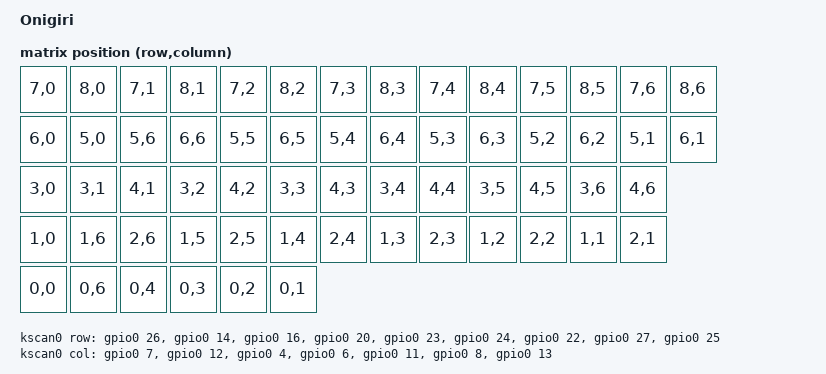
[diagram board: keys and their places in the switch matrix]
/**
 * Copyright (c) 2024 Kuba Birecki
 *
 * SPDX-License-Identifier: MIT
 */

/dts-v1/;
#include <nordic/nrf52840_qiaa.dtsi>
#include <rgb_fx.dtsi>

#include <dt-bindings/is31fl3743a_transform.h>
#include <dt-bindings/zmk/matrix_transform.h>

#include <dt-bindings/zmk/rgb_fx.h>

#include "onigiri_animation_zones.h"

/ {
	model = "Onigiri";

	chosen {
		zephyr,code-partition = &code_partition;
		zephyr,sram = &sram0; 
		zephyr,flash = &flash0;
		zephyr,i2c0 = &i2c0;
		zmk,rgb_fx = &root_animation;
		zmk,battery = &vbatt;
		zmk,kscan = &kscan0;
		zmk,matrix_transform = &default_transform;
	};

	vbatt: vbatt {
		compatible = "zmk,battery-voltage-divider";
		io-channels = <&adc 3>;
		output-ohms = <8200000>;
		full-ohms = <(3300000 + 8200000)>;
	};

	kscan0: kscan_0 {
		compatible = "zmk,kscan-gpio-matrix";
		diode-direction = "col2row";
		wakeup-source;

		col-gpios
			= <&gpio0 7 GPIO_ACTIVE_HIGH>
			, <&gpio0 12 GPIO_ACTIVE_HIGH>
			, <&gpio0 4 GPIO_ACTIVE_HIGH>
			, <&gpio0 6 GPIO_ACTIVE_HIGH>
			, <&gpio0 11 GPIO_ACTIVE_HIGH>
			, <&gpio0 8 GPIO_ACTIVE_HIGH>
			, <&gpio0 13 GPIO_ACTIVE_HIGH>
			;

		row-gpios
			= <&gpio0 26 (GPIO_ACTIVE_HIGH | GPIO_PULL_DOWN)>
			, <&gpio0 14 (GPIO_ACTIVE_HIGH | GPIO_PULL_DOWN)>
			, <&gpio0 16 (GPIO_ACTIVE_HIGH | GPIO_PULL_DOWN)>
			, <&gpio0 20 (GPIO_ACTIVE_HIGH | GPIO_PULL_DOWN)>
			, <&gpio0 23 (GPIO_ACTIVE_HIGH | GPIO_PULL_DOWN)>
			, <&gpio0 24 (GPIO_ACTIVE_HIGH | GPIO_PULL_DOWN)>
			, <&gpio0 22 (GPIO_ACTIVE_HIGH | GPIO_PULL_DOWN)>
			, <&gpio0 27 (GPIO_ACTIVE_HIGH | GPIO_PULL_DOWN)>
			, <&gpio0 25 (GPIO_ACTIVE_HIGH | GPIO_PULL_DOWN)>
			;
	};

	default_transform: keymap_transform_0 {
		compatible = "zmk,matrix-transform";
		columns = <7>;
		rows = <9>;

		map = <
			RC(7,0) RC(8,0) RC(7,1) RC(8,1) RC(7,2) RC(8,2) RC(7,3) RC(8,3) RC(7,4) RC(8,4) RC(7,5) RC(8,5) RC(7,6) RC(8,6)
			RC(6,0) RC(5,0) RC(5,6) RC(6,6) RC(5,5) RC(6,5) RC(5,4) RC(6,4) RC(5,3) RC(6,3) RC(5,2) RC(6,2) RC(5,1) RC(6,1)
			RC(3,0) RC(3,1) RC(4,1) RC(3,2) RC(4,2) RC(3,3) RC(4,3) RC(3,4) RC(4,4) RC(3,5) RC(4,5) RC(3,6) RC(4,6)
			RC(1,0) RC(1,6) RC(2,6) RC(1,5) RC(2,5) RC(1,4) RC(2,4) RC(1,3) RC(2,3) RC(1,2) RC(2,2) RC(1,1) RC(2,1)
			RC(0,0) RC(0,6) RC(0,4) RC(0,3) RC(0,2) RC(0,1)
		>;
	};

	rgb-fx {
		compatible = "zmk,rgb-fx";
		drivers = <&led_strip>;
		chain-lengths = <35>;

		key-pixels = <>;

		pixels
			= <&pixel 0 0>
			, <&pixel 7 0>
			, <&pixel 14 0>
			, <&pixel 21 0>
			, <&pixel 28 0>
			, <&pixel 35 0>
			, <&pixel 42 0>
			, <&pixel 49 0>
			, <&pixel 56 0>
			, <&pixel 63 0>
			, <&pixel 70 0>
			, <&pixel 77 0>
			, <&pixel 84 0>
			, <&pixel 91 0>
			, <&pixel 98 0>
			, <&pixel 105 0>
			, <&pixel 112 0>
			, <&pixel 119 0>
			, <&pixel 126 0>
			, <&pixel 133 0>
			, <&pixel 140 0>
			, <&pixel 147 0>
			, <&pixel 154 0>
			, <&pixel 161 0>
			, <&pixel 168 0>
			, <&pixel 175 0>
			, <&pixel 182 0>
			, <&pixel 189 0>
			, <&pixel 196 0>
			, <&pixel 203 0>
			, <&pixel 210 0>
			, <&pixel 217 0>
			, <&pixel 224 0>
			, <&pixel 231 0>
			, <&pixel 238 0>
			;

		root_animation: animation_100 {
			compatible = "zmk,rgb-fx-compose";
			status = "okay";

			fx = <
				&main_animations
				&bt_indicator_1
			>;
		};

		main_animations: animation_0 {
			compatible = "zmk,rgb-fx-control-group";
			status = "okay";

			fx = <
				&blue_sparkle
				&white_sparkle
				&red_sparkle
				&bootloader_all
				&bootloader_status
				&bt_indicators
				&layer_indicator
				&all_indicators
				&blue_solid
				&red_solid
				&white_solid
				&wpm_indicator
				&basic_gradient
				&rgb_static_gradient
				&hsl_static_gradient
				&rgb_gradient
				&wpm_compose
				&rainbow
			>;
		};

		blue_sparkle: animation_1 {
			compatible = "zmk,rgb-fx-sparkle";
			status = "okay";

			pixels = <ZONE_STRIP>;
			duration = <10>;
			colors = <
				HSL(172, 70, 50)
				HSL(189, 70, 50)
			>;
		};

		white_sparkle: animation_2 {
			compatible = "zmk,rgb-fx-sparkle";
			status = "okay";

			pixels = <ZONE_STRIP>;
			duration = <10>;
			colors = <HSL(0, 50, 100)>;
		};

		red_sparkle: animation_3 {
			compatible = "zmk,rgb-fx-sparkle";
			status = "okay";

			pixels = <ZONE_STRIP>;
			duration = <10>;
			colors = <
				HSL(355, 70, 55)
				HSL(10, 70, 55)
			>;
		};

		bootloader_all: animation_4 {
			compatible = "zmk,rgb-fx-compose";
			status = "okay";

			fx = <&bootloader_write &bootloader_status>;
		};

		bootloader_status: animation_5 {
			compatible = "zmk,rgb-fx-solid";
			status = "okay";

			pixels = <ZONE_INDICATOR_L1>;
			colors = <HSL(120, 100, 55)>;
		};

		bootloader_write: animation_6 {
			compatible = "zmk,rgb-fx-solid";
			status = "okay";

			pixels = <ZONE_INDICATOR_L1_BG>;
			colors = <HSL(176, 100, 55)>;
		};

		bt_indicators: animation_7 {
			compatible = "zmk,rgb-fx-solid";
			status = "okay";

			pixels = <ZONE_INDICATOR_L1 ZONE_INDICATOR_L2 ZONE_INDICATOR_L3>;
			colors = <HSL(197, 100, 60)>;
		};

		layer_indicator: animation_8 {
			compatible = "zmk,rgb-fx-solid";
			status = "okay";

			pixels = <ZONE_INDICATOR_R1>;
			colors = <HSL(355, 100, 60)>;
		};

		indicator_bg: animation_9 {
			compatible = "zmk,rgb-fx-solid";
			status = "okay";

			pixels = <ZONE_INDICATOR_L3_BG ZONE_INDICATOR_R1_BG>;
			colors = <HSL(0, 0, 0)>;
		};

		all_indicators: animation_10 {
			compatible = "zmk,rgb-fx-compose";
			status = "okay";

			fx = <
				&white_sparkle
				&indicator_bg
				&bt_indicators
				&layer_indicator
			>;
		};

		blue_solid: animation_11 {
			compatible = "zmk,rgb-fx-solid";
			status = "okay";

			pixels = <0 1 2 3 4 5 6 7 8 9 10 11 12 13 14 15 16 17 18 19 20 21 22 23 24>;
			colors = <HSL(187, 100, 59)>;
		};

		red_solid: animation_12 {
			compatible = "zmk,rgb-fx-solid";
			status = "okay";

			pixels = <0 1 2 3 4 5 6 7 8 9 10 11 12 13 14 15 16 17 18 19 20 21 22 23 24>;
			colors = <HSL(354, 100, 59)>;
		};

		white_solid: animation_13 {
			compatible = "zmk,rgb-fx-solid";
			status = "okay";

			pixels = <0 1 2 3 4 5 6 7 8 9 10 11 12 13 14 15 16 17 18 19 20 21 22 23 24>;
			colors = <HSL(0, 0, 100)>;
		};

		wpm_indicator: animation_14 {
			compatible = "zmk,rgb-fx-wpm";
			status = "okay";

			pixels = <ZONE_STRIP>;
			colors = <HSL(348, 95, 62) HSL(288, 95, 66)>;
			bounds = <0 238>;
			max-wpm = <100>;
			edge-gradient-width = <50>;
		};

		basic_gradient: animation_15 {
			compatible = "zmk,rgb-fx-linear-gradient";
			status = "okay";

			pixels = <ZONE_STRIP>;
			colors = <HSL(0, 100, 50) HSL(120, 100, 50) HSL(240, 100, 50)>;
			gradient-width = <255>;
			duration = <10>;
		};

		rgb_static_gradient: animation_16 {
			compatible = "zmk,rgb-fx-linear-gradient";
			status = "okay";

			pixels = <ZONE_STRIP>;
			colors = <HSL(232, 35, 25) HSL(94, 93, 71)>;
			use-rgb-interpolation;
		};

		hsl_static_gradient: animation_17 {
			compatible = "zmk,rgb-fx-linear-gradient";
			status = "okay";

			pixels = <ZONE_STRIP>;
			colors = <HSL(232, 35, 25) HSL(94, 93, 71)>;
		};

		rgb_gradient: animation_18 {
			compatible = "zmk,rgb-fx-linear-gradient";
			status = "okay";

			pixels = <ZONE_STRIP>;
			colors = <HSL(180, 100, 71) HSL(305, 100, 65)>;
			gradient-width = <150>;
			duration = <10>;
			use-rgb-interpolation;
		};

		bt_indicator_1: animation_19 {
			compatible = "zmk,rgb-fx-bt-indicator";
			status = "okay";

			pixels = <ZONE_INDICATOR_L1>;
			backdrop-pixels = <ZONE_INDICATOR_L1_BG>;

			color = <HSL(209, 100, 49)>;
			// backdrop-color = <HSL(1, 0, 0)>;

			profile-index = <0>;
		};

		wpm_left: animation_20 {
			compatible = "zmk,rgb-fx-wpm";
			status = "okay";

			pixels = <ZONE_STRIP_LEFT ZONE_STRIP_CENTER>;
			colors = <HSL(205, 100, 60) HSL(320, 100, 50)>;
			bounds = <84 0>;
			max-wpm = <100>;
			blending-mode = "multiply";
			edge-gradient-width = <30>;
		};

		wpm_right: animation_21 {
			compatible = "zmk,rgb-fx-wpm";
			status = "okay";

			pixels = <ZONE_STRIP_RIGHT>;
			colors = <HSL(205, 100, 60) HSL(320, 100, 50)>;
			bounds = <154 238>;
			max-wpm = <100>;
			blending-mode = "multiply";
			edge-gradient-width = <30>;
		};

		wpm_compose: animation_22 {
			compatible = "zmk,rgb-fx-compose";
			status = "okay";

			fx = <&white_sparkle &wpm_left &wpm_right>;
		};

		rainbow_border: animation_23 {
			compatible = "zmk,rgb-fx-static";
			status = "okay";

			pixels = <ZONE_RAINBOW_BORDER>;
			colors = <
				HSL(0, 0, 100) HSL(0, 0, 67) HSL(0, 0, 50)
				HSL(0, 0, 50) HSL(0, 0, 67) HSL(0, 0, 100)
			>;
			blending-mode = "multiply";
		};

		rainbow_colors: animation_24 {
			compatible = "zmk,rgb-fx-static";
			status = "okay";

			pixels = <ZONE_RAINBOW>;
			colors = <
				HSL(356, 94, 59) HSL(356, 94, 59)
				HSL(28, 100, 59) HSL(28, 100, 59)
				HSL(53, 100, 64) HSL(53, 100, 64)
				HSL(87, 58, 57) HSL(87, 58, 57)
				HSL(201, 85, 48) HSL(201, 85, 48)
				HSL(275, 63, 51) HSL(275, 63, 51)
			>;
		};

		rainbow_background: animation_25 {
			compatible = "zmk,rgb-fx-linear-gradient";
			status = "okay";

			pixels = <ZONE_STRIP>;
			colors = <HSL(220, 20, 30) HSL(223, 30, 80)>;
			gradient-width = <90>;
			duration = <8>;
		};

		rainbow: animation_26 {
			compatible = "zmk,rgb-fx-compose";
			status = "okay";

			fx = <&rainbow_background &rainbow_border &rainbow_colors>;
		};
	};
};

&adc {
	status = "okay";
};

&gpiote {
	status = "okay";
};

&gpio0 {
	status = "okay";
};

&gpio1 {
	status = "okay";
};

&pinctrl {
	i2c0_default: i2c0_default {
		group1 {
			psels = <NRF_PSEL(TWIM_SDA, 0, 17)>,
				    <NRF_PSEL(TWIM_SCL, 0, 15)>;
		};
	};

	i2c0_sleep: i2c0_sleep {
		group1 {
			psels = <NRF_PSEL(TWIM_SDA, 0, 17)>,
				    <NRF_PSEL(TWIM_SCL, 0, 15)>;
			low-power-enable;
		};
	};
};

&i2c0 {
	compatible = "nordic,nrf-twi";
	status = "okay";

	pinctrl-0 = <&i2c0_default>;
	pinctrl-1 = <&i2c0_sleep>;
	pinctrl-names = "default", "sleep";

	clock-frequency = <400000>;

	led_strip: is31fl3743a@20 {
		compatible = "issi,is31fl3743a";
		reg = <0x20>;
		r-ext = <34>;
		sw-setting = <0x02>;
		led-max-current = <10>;
		chain-length = <35>;

		scaling-red = <255>;
		scaling-green = <96>;
		scaling-blue = <84>;

	// Left to right (RGB35 -> RGB1)
		map = <
			RGB(SW(4), CS(16), CS(18), CS(17))
			RGB(SW(8), CS(16), CS(18), CS(17))
			RGB(SW(9), CS(16), CS(18), CS(17))
			RGB(SW(7), CS(16), CS(18), CS(17))
			RGB(SW(5), CS(16), CS(18), CS(17))
			RGB(SW(3), CS(16), CS(18), CS(17))
			RGB(SW(1), CS(16), CS(18), CS(17))
			RGB(SW(2), CS(16), CS(18), CS(17))

			RGB(SW(2), CS(13), CS(15), CS(14))
			RGB(SW(1), CS(13), CS(15), CS(14))
			RGB(SW(3), CS(13), CS(15), CS(14))
			RGB(SW(5), CS(13), CS(15), CS(14))
			RGB(SW(7), CS(13), CS(15), CS(14))
			RGB(SW(9), CS(13), CS(15), CS(14))
			RGB(SW(8), CS(13), CS(15), CS(14))
			RGB(SW(4), CS(13), CS(15), CS(14))
			RGB(SW(6), CS(13), CS(15), CS(14))

			RGB(SW(6), CS(10), CS(12), CS(11))
			RGB(SW(4), CS(10), CS(12), CS(11))
			RGB(SW(8), CS(10), CS(12), CS(11))
			RGB(SW(9), CS(10), CS(12), CS(11))
			RGB(SW(7), CS(10), CS(12), CS(11))
			RGB(SW(5), CS(10), CS(12), CS(11))
			RGB(SW(3), CS(10), CS(12), CS(11))
			RGB(SW(2), CS(10), CS(12), CS(11))
			RGB(SW(1), CS(10), CS(12), CS(11))

			RGB(SW(9), CS(9), CS(8), CS(7))
			RGB(SW(7), CS(9), CS(8), CS(7))
			RGB(SW(5), CS(9), CS(8), CS(7))
			RGB(SW(3), CS(9), CS(8), CS(7))
			RGB(SW(8), CS(9), CS(8), CS(7))
			RGB(SW(6), CS(9), CS(8), CS(7))
			RGB(SW(4), CS(9), CS(8), CS(7))
			RGB(SW(2), CS(9), CS(8), CS(7))
			RGB(SW(1), CS(9), CS(8), CS(7))
		>;
	};
};

zephyr_udc0: &usbd {
	status = "okay";
};

&flash0 {
    /*
     * For more information, see:
     * http://docs.zephyrproject.org/latest/devices/dts/flash_partitions.html
     */
	partitions {
		compatible = "fixed-partitions";
		#address-cells = <1>;
		#size-cells = <1>;

		sd_partition: partition@0 {
			reg = <0x00000000 0x00001000>;
		};
		code_partition: partition@1000 {
			reg = <0x00001000 0x000d3000>;
		};

		/*
		 * The flash starting at 0x000ec000 and ending at
		 * 0x000f3fff is reserved for use by the application.
		 */

		/*
		 * Storage partition will be used by FCB/LittleFS/NVS
		 * if enabled.
		 */
		storage_partition: partition@d4000 {
			reg = <0x000d4000 0x00020000>;
		};

		boot_partition: partition@f4000 {
			reg = <0x000f4000 0x0000c000>;
		};
	};
};
